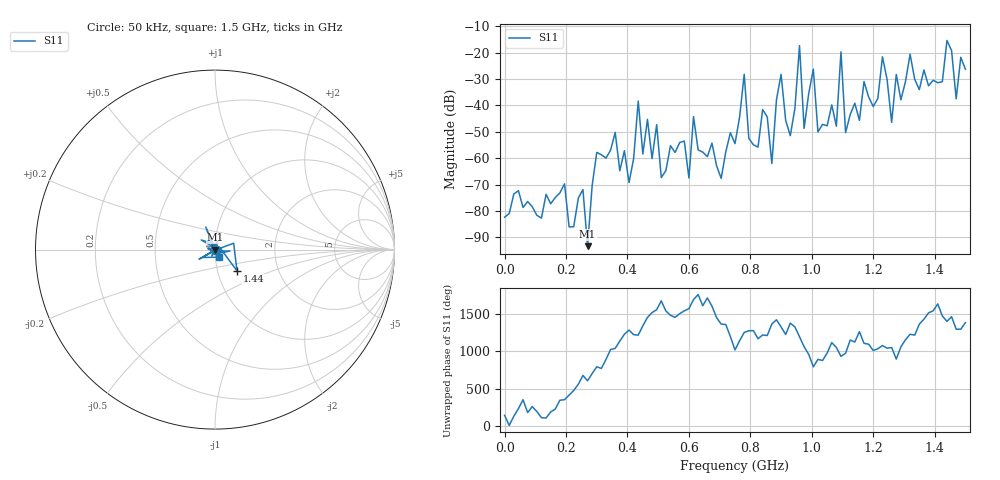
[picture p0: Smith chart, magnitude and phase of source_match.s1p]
! Created with skrf 1.8.0 (http://scikit-rf.org).
# Hz S RI R 50.0
!freq ReS11 ImS11
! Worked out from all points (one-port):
!   101 points, 50 kHz to 1.5 GHz, reference 50 ohm
!   lowest |S11| = -93.3 dB at 270 MHz (marker M1), VSWR 1.00, Z = 50 - j0.00199 ohm
!   |S11| at or under -10 dB: start of sweep to end of sweep
!   S11 on the Smith chart (normalised r, x): 50 kHz: 1.00, +0.00; 1.44 GHz: 1.24, -0.30; 1.5 GHz: 1.05, -0.09
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50000  -6.4e-05 4.21e-05
1.950435e8  0.000327 -3e-05
2.70041e8  -8.6e-06 -1.99e-05
3.0004e8  0.000387 0.00123
3.750375e8  0.000337 0.000473
4.050365e8  -0.000325 -0.000121
4.350355e8  -0.00837 0.0088
5.10033e8  -0.000282 -0.000327
5.70031e8  0.00101 0.00171
7.50025e8  0.000846 -0.00169
7.80024e8  -0.0383 0.00744
7.950235e8  -0.00233 -0.000494
8.70021e8  0.000167 -0.00078
9.0002e8  -0.0178 -0.0345
9.450185e8  -0.00408 -0.00776
9.60018e8  -0.0512 0.1259
9.750175e8  0.00346 -0.00127
1.005016e9  0.0145 0.0467
1.020016e9  -0.00313 0.000464
1.080014e9  0.00349 -0.00207
1.095014e9  -0.0888 -0.0535
1.110013e9  -0.000916 -0.00292
1.125012e9  0.00247 0.00624
1.230009e9  0.0833 -0.00791
1.260008e9  0.0041 -0.0025
1.320006e9  -0.0767 0.0536
1.440002e9  0.1226 -0.1184
1.5e9  0.024 -0.0422
